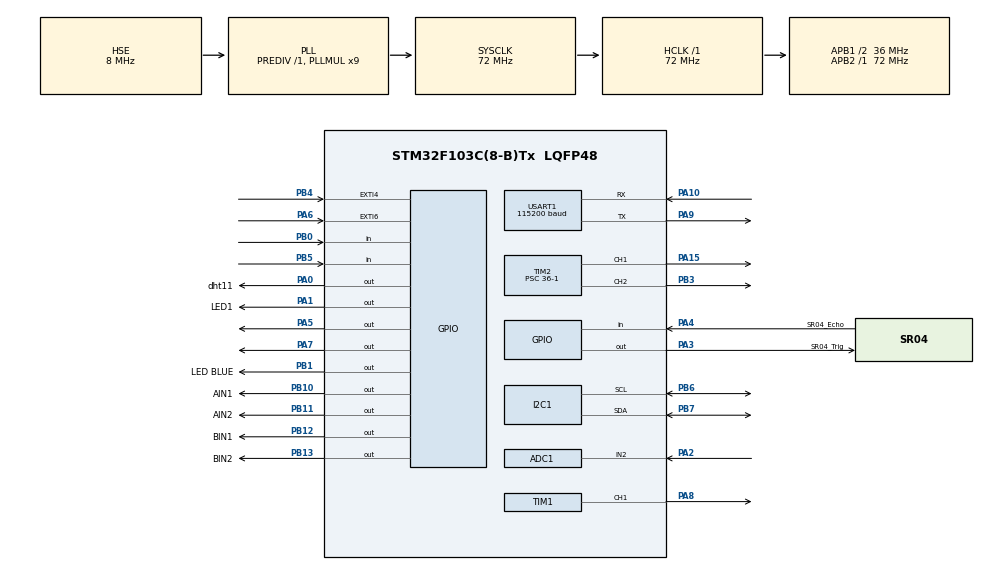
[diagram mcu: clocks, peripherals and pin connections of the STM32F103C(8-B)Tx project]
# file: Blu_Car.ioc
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ADC1.Channel-0\#ChannelRegularConversion=ADC_CHANNEL_2
ADC1.NbrOfConversionFlag=1
ADC1.Rank-0\#ChannelRegularConversion=1
ADC1.SamplingTime-0\#ChannelRegularConversion=ADC_SAMPLETIME_1CYCLE_5
ADC1.master=1
Dma.Request0=USART1_RX
Dma.USART1_RX.0.Direction=DMA_PERIPH_TO_MEMORY
Dma.USART1_RX.0.Instance=DMA1_Channel5
Dma.USART1_RX.0.MemDataAlignment=DMA_MDATAALIGN_BYTE
Dma.USART1_RX.0.MemInc=DMA_MINC_ENABLE
Dma.USART1_RX.0.Mode=DMA_NORMAL
Dma.USART1_RX.0.PeriphDataAlignment=DMA_PDATAALIGN_BYTE
Dma.USART1_RX.0.PeriphInc=DMA_PINC_DISABLE
Dma.USART1_RX.0.Priority=DMA_PRIORITY_LOW
I2C1.I2C_Mode=I2C_Fast
Mcu.Family=STM32F1
Mcu.Name=STM32F103C(8-B)Tx
Mcu.Package=LQFP48
NVIC.DMA1_Channel5_IRQn=true\:0\:0\:false\:false\:true\:false\:true
NVIC.EXTI4_IRQn=true\:0\:0\:false\:false\:true\:true\:true
NVIC.EXTI9_5_IRQn=true\:0\:0\:false\:false\:true\:true\:true
NVIC.PriorityGroup=NVIC_PRIORITYGROUP_4
NVIC.TIM4_IRQn=true\:0\:0\:false\:false\:true\:true\:true
NVIC.USART1_IRQn=true\:0\:0\:false\:false\:true\:true\:true
PA0-WKUP.GPIO_Label=dht11
PA0-WKUP.Signal=GPIO_Output
PA1.GPIO_Label=LED1
PA1.Signal=GPIO_Output
PA10.Mode=Asynchronous
PA10.Signal=USART1_RX
PA13.Mode=Serial_Wire
PA13.Signal=SYS_JTMS-SWDIO
PA14.Mode=Serial_Wire
PA14.Signal=SYS_JTCK-SWCLK
PA15.Signal=S_TIM2_CH1_ETR
PA2.Signal=ADCx_IN2
PA3.GPIO_Label=SR04_Trig
PA3.Signal=GPIO_Output
PA4.GPIO_Label=SR04_Echo
PA4.Signal=GPIO_Input
PA5.Signal=GPIO_Output
PA6.GPIO_ModeDefaultEXTI=GPIO_MODE_IT_RISING_FALLING
PA6.GPIO_PuPd=GPIO_PULLUP
PA6.Signal=GPXTI6
PA7.Signal=GPIO_Output
PA8.Signal=S_TIM1_CH1
PA9.Mode=Asynchronous
PA9.Signal=USART1_TX
PB0.GPIO_PuPd=GPIO_PULLDOWN
PB0.Signal=GPIO_Input
PB1.GPIO_Label=LED BLUE
PB1.Signal=GPIO_Output
PB10.GPIO_Label=AIN1
PB10.Signal=GPIO_Output
PB11.GPIO_Label=AIN2
PB11.Signal=GPIO_Output
PB12.GPIO_Label=BIN1
PB12.Signal=GPIO_Output
PB13.GPIO_Label=BIN2
PB13.Signal=GPIO_Output
PB3.Signal=S_TIM2_CH2
PB4.GPIO_ModeDefaultEXTI=GPIO_MODE_IT_RISING_FALLING
PB4.GPIO_PuPd=GPIO_PULLUP
PB4.Signal=GPXTI4
PB5.Signal=GPIO_Input
PB6.Mode=I2C
PB6.Signal=I2C1_SCL
PB7.Mode=I2C
PB7.Signal=I2C1_SDA
PD0-OSC_IN.Mode=HSE-External-Oscillator
PD0-OSC_IN.Signal=RCC_OSC_IN
PD1-OSC_OUT.Mode=HSE-External-Oscillator
PD1-OSC_OUT.Signal=RCC_OSC_OUT
ProjectManager.HeapSize=0x200
ProjectManager.StackSize=0x400
ProjectManager.TargetToolchain=MDK-ARM V5.27
RCC.ADCPresc=RCC_ADCPCLK2_DIV6
RCC.AHBFreq_Value=72000000
RCC.APB1CLKDivider=RCC_HCLK_DIV2
RCC.APB1Freq_Value=36000000
RCC.APB1TimFreq_Value=72000000
RCC.APB2Freq_Value=72000000
RCC.APB2TimFreq_Value=72000000
RCC.HCLKFreq_Value=72000000
RCC.PLLMUL=RCC_PLL_MUL9
RCC.PLLSourceVirtual=RCC_PLLSOURCE_HSE
RCC.SYSCLKFreq_VALUE=72000000
RCC.SYSCLKSource=RCC_SYSCLKSOURCE_PLLCLK
RCC.USBFreq_Value=72000000
SH.ADCx_IN2.0=ADC1_IN2,IN2
SH.S_TIM1_CH1.0=TIM1_CH1,PWM Generation1 CH1
SH.S_TIM2_CH1_ETR.0=TIM2_CH1,PWM Generation1 CH1
SH.S_TIM2_CH2.0=TIM2_CH2,PWM Generation2 CH2
TIM1.Channel-PWM\ Generation1\ CH1=TIM_CHANNEL_1
TIM1.Period=20000-1
TIM1.Prescaler=72-1
TIM2.Channel-PWM\ Generation1\ CH1=TIM_CHANNEL_1
TIM2.Channel-PWM\ Generation2\ CH2=TIM_CHANNEL_2
TIM2.Period=100-1
TIM2.Prescaler=36-1
TIM3.AutoReloadPreload=TIM_AUTORELOAD_PRELOAD_ENABLE
TIM3.Prescaler=72-1
TIM4.Period=100-1
TIM4.Prescaler=7200-1
USART1.BaudRate=115200
USART1.VirtualMode=VM_ASYNC
VP_TIM1_VS_ClockSourceINT.Mode=Internal
VP_TIM2_VS_ClockSourceINT.Mode=Internal
VP_TIM3_VS_ClockSourceINT.Mode=Internal
VP_TIM4_VS_ClockSourceINT.Mode=Internal
board=custom

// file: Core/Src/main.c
/* USER CODE BEGIN Header */
/**
  ******************************************************************************
  * @file           : main.c
  * @brief          : Main program body
  ******************************************************************************
  * @attention
  *
  * <h2><center>&copy; Copyright (c) 2025 STMicroelectronics.
  * All rights reserved.</center></h2>
  *
  * This software component is licensed by ST under BSD 3-Clause license,
  * the "License"; You may not use this file except in compliance with the
  * License. You may obtain a copy of the License at:
  *                        opensource.org/licenses/BSD-3-Clause
  *
  ******************************************************************************
  */
/* USER CODE END Header */
#include "main.h"
#include "adc.h"
#include "dma.h"
#include "i2c.h"
#include "tim.h"
#include "usart.h"
#include "gpio.h"

/* USER CODE BEGIN Includes */
#include <string.h>
#include "oled.h"
#include "font.h"
#include <stdio.h>
#include <stdlib.h>
#include "dht11.h"
//#include "max7219.h"
#include "key.h"
#include "MPU6050.h"
#include "Blucar.h"
#include "PID.h"
#include "HCSR04.h"
/* USER CODE END Includes */

/* USER CODE BEGIN PD */

#define RX_MAX_LEN 1024       // 定义足够大的接收缓冲区
#define RX_BUFFER_SIZE 512
#define RX_BLU_SIZE 256  // 定义缓冲区大小
#define free_state 0
#define singlepress 1
#define doublepress 2
#define longpress 3
#define WEATHER_KEY "SkauKTjXsbUijiTkw"
#define WEATHER_CITY "guangzhou"
// OneNET 配置信息
#define ONENET_PID      "NW4ydVqKGU"       // 产品 ID
#define ONENET_DEVICE   "pro1"             // 设备名称
// 【注意】这里必须填计算出来的 Token (res=products/PID/devices/pro1)
#define ONENET_TOKEN "version=2018-10-31&res=products%2FNW4ydVqKGU%2Fdevices%2Fpro1&et=2541412770&method=md5&sign=2vCMFmP%2FtvBfhgw8YwXQDg%3D%3D"

// OneNET 物模型上报 Topic (固定格式)
#define TOPIC_POST      "$sys/" ONENET_PID "/" ONENET_DEVICE "/thing/property/post"
/* USER CODE END PD */

/* USER CODE BEGIN PV */
PID_TypeDef Motor_PID_L;
PID_TypeDef Motor_PID_R;

uint16_t pid;
 char temp_str[10] = {0};
char weather_str[20] = {0};
char Car_dir;
//volatile uint8_t Car_Mode=1;
volatile uint8_t Blu_rx_buffer[RX_BUFFER_SIZE]; // 接收缓冲区
volatile uint8_t Blu_rx_len = 0; // 接收到的数据长度
volatile uint8_t Blu_rx_ready = 0; // 标志位：1表示收到新指令
volatile uint8_t RxBuffer[RX_MAX_LEN];  // DMA 原始接收桶
volatile uint16_t RxLen = 0;            // 实际接收长度
volatile uint8_t RecvEndFlag = 0;       // 接收完成标志
volatile static uint32_t stopcartime=0;
/*
// === 惯性控制变量 ===
volatile int16_t Target_PWM_L = 0;  // 左轮目标速度
volatile int16_t Target_PWM_R = 0;  // 右轮目标速度
volatile int16_t Current_PWM_L = 0; // 左轮实际速度 (逐渐变化)
volatile int16_t Current_PWM_R = 0; // 右轮实际速度 (逐渐变化)
volatile uint8_t Speed_Update_Flag = 0; // 定时器触发标志
*/
volatile uint8_t  Car_Mode = 1;          // 内部记录模式
volatile uint8_t  Speed_Update_Flag = 0; // 内部记录时间标志
char http_buffer[512]; // 存放 HTTP 请求报文
char len_cmd[128];      // 存放长度指令
char process_buff[RX_BUFFER_SIZE]; // 【新增】用于解析的备份缓冲区
char rxbuff[RX_BUFFER_SIZE];
char Txbuff[35];
char message[256];
char dht11message[256];
char adc[10];
char onenetsend[512];
uint8_t oledflag=0;
uint8_t txflag=0;
volatile uint8_t rxflag=0;
uint8_t sendflag=0;
uint8_t weathergetflag=0;
uint8_t lastweaflag=0;
uint8_t btrysendflag=0;
uint8_t stopcarflag=0;
uint8_t SR04_send_flag=0;
uint8_t speed_countflag=0;
uint8_t Car_Trackflag=0;
volatile uint8_t rx_index = 0;
volatile uint8_t new_data_available = 0;
char oled[50];
uint8_t temperature = 0;
uint8_t humidity = 0;
uint16_t Car_speed=0;
uint8_t doubleflag;
uint8_t singleflag;
uint8_t longflag;
uint8_t keyscanflag;
uint8_t wificheckflag;
uint8_t sr04_Readflag=0;
uint8_t Actual_Speed=35;
long pwmvalue;
float PID_L=0;
float PID_R=0;
// 全局变量记录脉冲
volatile long pulse_count_L = 0;
volatile long pulse_count_R = 0;
float speed_L = 0.0f;         // 当前速度 (cm/s)
float speed_R = 0.0f;
/* 发送电量变量 */
uint32_t Last_Send_Time = 0;
char send_buf[30];

uint32_t Last_Cmd_Time = 0; // 全局变量，记录上次收到指令的时间
char line2[] = "Host: api.seniverse.com\r\n";
char line3[] = "Connection: close\r\n";
char line4[] = "\r\n"; // 【关键】最后的空行
//MPU6050 MM;
/* USER CODE END PV */

void SystemClock_Config(void);
/* USER CODE BEGIN PFP */
void send_at_command(const char* cmd);
void Get_Temp(void);
uint8_t MQTTRec(char * data);
void Set_Servo_Angle(TIM_HandleTypeDef *htim, uint32_t Channel, uint8_t angle);
void MQTThandle(void);
void oledshow(char *text,uint8_t x,uint8_t y);
void Get_Weather(void);
void Onenet_connect(void);
void Parse_Weather_Smart(void);
void Control_Car(uint8_t mode,uint8_t cmd,uint8_t speed);
void Car_btry(void);
void Car_Speed_Loop(void);
/* USER CODE END PFP */

int main(void)
{

  /* MCU Configuration--------------------------------------------------------*/

  /* Reset of all peripherals, Initializes the Flash interface and the Systick. */
  HAL_Init();

  /* Configure the system clock */
  SystemClock_Config();

  /* Initialize all configured peripherals */
  MX_GPIO_Init();
  MX_DMA_Init();
  MX_USART1_UART_Init();
  MX_I2C1_Init();
  MX_TIM2_Init();
  MX_TIM4_Init();
  MX_ADC1_Init();
  MX_TIM3_Init();
  MX_TIM1_Init();
  /* USER CODE BEGIN 2 */
  /*
    send_at_command("AT+RST");
	HAL_Delay (1000);
	*/

	SSD1306_Init();
	SSD1306_Clear();
	oledshow("ok",0,20);
	HAL_GPIO_WritePin(LED1_GPIO_Port, LED1_Pin, GPIO_PIN_SET);
	HAL_GPIO_WritePin(LED_BLUE_GPIO_Port,LED_BLUE_Pin,GPIO_PIN_SET);
	HAL_GPIO_WritePin(GPIOA, GPIO_PIN_5, GPIO_PIN_RESET); // servo IN1
    HAL_GPIO_WritePin(GPIOA, GPIO_PIN_7, GPIO_PIN_RESET); // servo IN2

	//onenet init

	//send_at_command("AT+CWJAP=\"Neo8\",\"2271902787\"");
	//HAL_Delay(1000);

	//send_at_command("AT+CWJAP=\"Xiaomi_D44B\",\"2271902787Ab\"");
	//HAL_Delay (4000);
//send_at_command("AT+CIPSTART=\"TCP\",\"api.seniverse.com\",80");

	DHT11_Init();
	SR04_Init();
	Motor_Init(); //电机初始化
	PID_Init(&Motor_PID_L, 1.5f, 0.0f, 0.5f, 100.0f);
	PID_Init(&Motor_PID_R, 1.5f, 0.0f, 0.5f, 100.0f);
	Track_PID_Init();
	//HAL_TIM_PWM_Start(&htim3, TIM_CHANNEL_1);
	HAL_TIM_PWM_Start(&htim1, TIM_CHANNEL_1);

	//HAL_TIM_Base_Start(&htim4);
	//HAL_UART_Receive_IT(&huart1, (uint8_t*)&rxbuff[0], 1);

	// 1. 开启 IDLE 中断
  //__HAL_UART_ENABLE_IT(&huart1, UART_IT_IDLE);
  // 2. 开启 DMA 接收 (CPU 可以去玩了，DMA 会干活)
  // HAL_UART_Receive_DMA(&huart1, (uint8_t*)Blu_rx_buffer, RX_BLU_SIZE);

	 HAL_UARTEx_ReceiveToIdle_DMA(&huart1,(uint8_t*)Blu_rx_buffer,RX_BLU_SIZE);	//手动开启串口DMA模式接收数据
  	__HAL_DMA_DISABLE_IT(&hdma_usart1_rx, DMA_IT_HT);

	HAL_TIM_Base_Start_IT(&htim4);
	//__HAL_TIM_SET_COMPARE(&htim1, TIM_CHANNEL_1,0);
	//HAL_ADC_Start(&hadc1);
	//HAL_TIM_Encoder_Start(&htim4,TIM_CHANNEL_ALL);

  /* USER CODE END 2 */

  /* Infinite loop */
  /* USER CODE BEGIN WHILE */
  while (1)
  {
	  /*陀螺仪
	  MPU6050_Get_Angle(&MM);
	  printf("pitch:%.2f\r\n",MM.pitch);
	  printf("roll:%.2f\r\n",MM.roll);
	  printf("yaw:%.2f\r\n",MM.yaw);
	  printf("%d\r\n",speed);
	  HAL_Delay(1000);
	  */
	  /* main.c 的 while(1) 循环内 */

	  if(myCar.Mode == 4)
	  {
		  if(Car_Trackflag){
				Car_Trackflag=0;
			   Car_Track_Line(&myCar); // 专门写一个循迹函数
		  }

     }

	  if(sr04_Readflag)
     {
			 sr04_Readflag = 0;
			 if(myCar.Mode != 4){
				Car_AutoRun(&myCar);
			 }
	  }

	  if(speed_countflag)
	  {
			speed_countflag=0;

			 Car_Getspd(pulse_count_L,pulse_count_R);
			 // 3. PID 计算 (现在正负号对齐了，PID 就能正常工作了)
			 PID_L = PID_Compute(&Motor_PID_L, speed_L,Car_speed);
			 PID_R = PID_Compute(&Motor_PID_R, speed_R,Car_speed);
			 Car_Wheelspd(Car_dir,&myCar,PID_L,PID_R);
			 // 4. 执行输出
			 //Car_Wheelspd(&myCar,PWM_L, PWM_R);
        sprintf(send_buf, "[Spd,%.1f,%.1f]", speed_L,speed_R);

	  }

		if(keyscanflag==1){
			keyscanflag=0;
			Keyscan();
		}

		// === 电压测量与发送 (没指令时每5秒发一次) ===
	 if(btrysendflag){

			btrysendflag=0;
			Car_Report_Status();
	 }

	 if(Speed_Update_Flag){
		 Speed_Update_Flag=0;
		 //Motor_PID_R.Target=Car_speed;
	    //pid =PID_Compute(&Motor_PID_R,35);
		 Car_Speed_Handle(&myCar);
	 }

	 if(SR04_send_flag){
		 SR04_send_flag=0;
		 HAL_UART_Transmit(&huart, (uint8_t*)send_buf, strlen(send_buf), 100);
		 sprintf(send_buf, "[Sonic,%.2f]",g_Distance);
       HAL_UART_Transmit(&huart, (uint8_t*)send_buf, strlen(send_buf), 100);

	 }

	//蓝牙接收处理
	// 检查是否有新数据
    if(Blu_rx_ready == 1)
    {
        Blu_rx_ready = 0; // 清除标志位

		  HAL_UART_Transmit(&huart1, (uint8_t*)&Blu_rx_buffer, Blu_rx_len,100);
			// 永远只找最后一个 '['，忽略前面积压的旧数据
			char *p = strrchr((char*)Blu_rx_buffer, '[');
		 // 1. 定义临时变量 (int 类型)
			int temp_speed = 0;
			int temp_mode = 0;
		 //if(strstr((char*)Blu_rx_buffer,"[Car")!=NULL)
		 //解析接收的指令
		 if (p != NULL)
		 {
				if (sscanf(p, "[Car,%c,%d]",&Car_dir,&temp_speed) == 2)
				{

					stopcartime=0;
					stopcarflag=0;
					if(myCar.Mode != 3 && myCar.Mode != 4){
						// 3. 安全赋值 (把 int 转回 uint16_t)
						Car_speed = (uint16_t)temp_speed;;

						//Car_Run(&myCar,Car_dir,Car_speed);

					}
					//printf("Car_dir:%c,speed:%d",Car_dir,Car_speed);

				}

				//获取小程序控制模式
				if (sscanf(p, "[Mode,%d]", &temp_mode) == 1)
				{
						stopcartime=0;
					   Set_Servo_Angle(&htim1, TIM_CHANNEL_1, 90);
					   myCar.Mode = (uint8_t)temp_mode;
						Car_Set_Motion(&myCar);
				}

            // 接收小程序指令，立马发送一次电量
				if (strstr(p, "[Connect]") != NULL)
				{
						Car_Report_Status();
				}

				memset(Blu_rx_buffer, 0, 255);
		}

		Blu_rx_len = 0;
		HAL_UARTEx_ReceiveToIdle_DMA(&huart1, (uint8_t*)Blu_rx_buffer, RX_BLU_SIZE); /// 接收完毕后重启串口DMA模式接收数据
		 /*
		 //舵机控制
		 if(strstr((char*)Blu_rx_buffer,"1")!=NULL){
			Set_Servo_Angle(&htim2,TIM_CHANNEL_1,0);
		}

		 int n;
		static uint32_t last_servo_time = 0; // 记录上次动舵机的时间
		 static uint8_t last_servo_angle = 255; // 初始值设为一个不可能的角度，确保第一次能执行
			if (sscanf((char*)Blu_rx_buffer, "[slider,1,%d]", &n) == 1)
         {
                // 3. 安全限幅 (防止手机发来 200 把舵机烧了)
                if(n < 0) n = 0;
                if(n > 100) n = 100;

                // 4. 映射计算
                // 输入: 0~100
                // 输出: 0~180 度
                // 公式: 角度 = (数值 / 100.0) * 180
                uint8_t servo_angle = (uint8_t)(n * 1.6);
						printf("n为:%d",n);

					if (abs(servo_angle - last_servo_angle) > 3)
					{
						 // === 新增：时间限制 ===
						 // 只有距离上次操作超过 100ms (0.1秒) 才允许再次动舵机
						 if (HAL_GetTick() - last_servo_time > 100)
						 {
							  Set_Servo_Angle(&htim2, TIM_CHANNEL_1, servo_angle);
							  last_servo_angle = servo_angle;
							  last_servo_time = HAL_GetTick(); // 更新时间戳
						 }
					}

         }

        // 处理接收到的蓝牙指令
        // 假设指令是单个字符：rx_buffer[0]
        // 如果指令是字符串（如 "GO"），可以用 strcmp 判断

        // 简单示例：取第一个字节控制
        //Control_Car(Blu_rx_buffer[0]);
		 //printf("数据:%d:",Blu_rx_buffer[0]);
        // 调试：如果你有 OLED，可以在这里打印 rx_buffer 看看收到了啥
		  */
    }

	 //看门狗,超时强制停车,防止小车失控
	 if(stopcarflag)
	 {
			stopcarflag=0;

			if(myCar.Target_PWM_L != 0 || myCar.Target_PWM_R != 0)
			{
				myCar.Target_Speed = 0; // 更新状态变量
				myCar.Current_PWM_L = 0;
				myCar.Current_PWM_R = 0;

				Car_Force_Stop(&myCar);
				//HAL_UART_Transmit(&huart1, (uint8_t*)"[Info,Stop]\r\n", 13, 100);
				//HAL_UART_Transmit(&huart1, (uint8_t*)"stop\r\n", 6, 100);
			}

	 }
	 /*//红外

	if (HAL_GPIO_ReadPin(GPIOB, GPIO_PIN_5) == GPIO_PIN_RESET)
    {
       HAL_GPIO_WritePin(LED_BLUE_GPIO_Port,LED_BLUE_Pin,GPIO_PIN_RESET);
    }
    else
    {
        HAL_GPIO_WritePin(LED_BLUE_GPIO_Port,LED_BLUE_Pin,GPIO_PIN_SET);
    }

	 */

	if(weathergetflag==1){

			lastweaflag=weathergetflag;
			weathergetflag=0;

	}

	if(sendflag){

		Onenet_connect();
		sendflag=0;
	}

	  /* //红外adc
	uint16_t adc_value;
    HAL_ADC_PollForConversion(&hadc1, 50);
    if ((HAL_ADC_GetState(&hadc1) & HAL_ADC_STATE_REG_EOC) == HAL_ADC_STATE_REG_EOC)
    {
        adc_value = HAL_ADC_GetValue(&hadc1);
        sprintf(adc,"V: %d", adc_value);
		oledshow(adc);
    }
	if(adc_value<1000){
		Set_Servo_Angle(&htim2, TIM_CHANNEL_1, 45);  // 45掳
	}else Set_Servo_Angle(&htim2, TIM_CHANNEL_1, 90);  // 45掳
	HAL_Delay(500);
	 */
    /* USER CODE END WHILE */

  }
}

void SystemClock_Config(void)
{
  RCC_OscInitTypeDef RCC_OscInitStruct = {0};
  RCC_ClkInitTypeDef RCC_ClkInitStruct = {0};
  RCC_PeriphCLKInitTypeDef PeriphClkInit = {0};

  /** Initializes the RCC Oscillators according to the specified parameters
  * in the RCC_OscInitTypeDef structure.
  */
  RCC_OscInitStruct.OscillatorType = RCC_OSCILLATORTYPE_HSE;
  RCC_OscInitStruct.HSEState = RCC_HSE_ON;
  RCC_OscInitStruct.HSEPredivValue = RCC_HSE_PREDIV_DIV1;
  RCC_OscInitStruct.HSIState = RCC_HSI_ON;
  RCC_OscInitStruct.PLL.PLLState = RCC_PLL_ON;
  RCC_OscInitStruct.PLL.PLLSource = RCC_PLLSOURCE_HSE;
  RCC_OscInitStruct.PLL.PLLMUL = RCC_PLL_MUL9;
  if (HAL_RCC_OscConfig(&RCC_OscInitStruct) != HAL_OK)
  {
    Error_Handler();
  }
  /** Initializes the CPU, AHB and APB buses clocks
  */
  RCC_ClkInitStruct.ClockType = RCC_CLOCKTYPE_HCLK|RCC_CLOCKTYPE_SYSCLK
                              |RCC_CLOCKTYPE_PCLK1|RCC_CLOCKTYPE_PCLK2;
  RCC_ClkInitStruct.SYSCLKSource = RCC_SYSCLKSOURCE_PLLCLK;
  RCC_ClkInitStruct.AHBCLKDivider = RCC_SYSCLK_DIV1;
  RCC_ClkInitStruct.APB1CLKDivider = RCC_HCLK_DIV2;
  RCC_ClkInitStruct.APB2CLKDivider = RCC_HCLK_DIV1;

  if (HAL_RCC_ClockConfig(&RCC_ClkInitStruct, FLASH_LATENCY_2) != HAL_OK)
  {
    Error_Handler();
  }
  PeriphClkInit.PeriphClockSelection = RCC_PERIPHCLK_ADC;
  PeriphClkInit.AdcClockSelection = RCC_ADCPCLK2_DIV6;
  if (HAL_RCCEx_PeriphCLKConfig(&PeriphClkInit) != HAL_OK)
  {
    Error_Handler();
  }
}

/* USER CODE BEGIN 4 */

int fputc(int ch,FILE *f)
{
	HAL_UART_Transmit(&huart1, (uint8_t*)&ch, 1, 100);
	return ch;
}

void Set_Servo_Angle(TIM_HandleTypeDef *htim, uint32_t Channel, uint8_t angle)
{
    uint16_t pulse_width = 500 + (angle/ 180.0) * 2000;
    __HAL_TIM_SET_COMPARE(htim, Channel, pulse_width);
    HAL_Delay(15);
}

uint8_t MQTTRec(char * data)
{
	 if (strstr(rxbuff, "+MQTTSUBRECV:") != NULL && strstr(rxbuff, data) != NULL)
	 {
		return 1;
	 }else return 0;
}

void oledshow(char *text,uint8_t x,uint8_t y)
{

	SSD1306_GotoXY(x, y);
	SSD1306_Puts(text, &Font_11x18, 1);
	SSD1306_UpdateScreen();
}

void Onenet_connect(void)
{
		if(lastweaflag==1){
			HAL_UART_Transmit(&huart1, (uint8_t*)"AT+CIPCLOSE\r\n", 13, 100);
			 HAL_Delay(500);
			snprintf(onenetsend,sizeof(onenetsend),"AT+MQTTUSERCFG=0,1,\"%s\",\"%s\",\"%s\",0,0,\"\"\r\n",ONENET_DEVICE,ONENET_PID,ONENET_TOKEN);
			send_at_command(onenetsend);
			 //send_at_command("AT+MQTTUSERCFG=0,1,\"%s\",\"%s\",\"%s\",0,0,\"\"\r\n",ONENET_DEVICE,ONENET_PID,ONENET_TOKEN);
				 HAL_Delay(500);
				send_at_command("AT+MQTTCONN=0,\"mqtts.heclouds.com\",1883,1\r\n");
				 // 3. 连接 OneNET MQTT 服务器

				 HAL_Delay(1000); // 连接需要时间，必须延时！
			snprintf(onenetsend,sizeof(onenetsend),"AT+MQTTSUB=0,\"$sys/%s/%s/thing/property/post/reply\",0\r\n",ONENET_PID,ONENET_DEVICE);
			send_at_command(onenetsend);
					//send_at_command("AT+MQTTSUB=0,\"$sys/NW4ydVqKGU/pro1/thing/property/post/reply\",0\r\n");

				 // 4. 构造物模型 JSON 数据
				 // 假设 OneNET 平台上有 identifier 为 "temperature" 和 "humidity" 的属性

				  HAL_Delay(1000);
			snprintf(onenetsend,sizeof(onenetsend),"AT+MQTTSUB=0,\"$sys/%s/%s/thing/property/set\",0\r\n",ONENET_PID,ONENET_DEVICE);
			send_at_command(onenetsend);
				//send_at_command("AT+MQTTSUB=0,\"$sys/NW4ydVqKGU/pro1/thing/property/set\",0\r\n");
			HAL_Delay(1000);
			lastweaflag=0;
		}

		Get_Temp();
		snprintf(onenetsend,sizeof(onenetsend),"AT+MQTTPUB=0,\"%s\",\"{\\\"id\\\":\\\"123\\\"\\,\\\"params\\\":{\\\"hum\\\":{\\\"value\\\":%d}\\,\\\"temp\\\":{\\\"value\\\":%d}}}\",0,0\r\n",TOPIC_POST,humidity,temperature);
   //snprintf(onenetsend,sizeof(onenetsend),"AT+MQTTPUB=0,\"%s\",\"{\\\"id\\\":\\\"123\\\"\\,\\\"params\\\":{\\\"hum\\\":{\\\"value\\\":%d}\\,\\\"temp\\\":{\\\"value\\\":%d}\\,\\\"weather\\\":{\\\"value\\\":\\\"%s\\\"}}}\",0,0\r\n",TOPIC_POST,humidity,temperature,weather_str);
				send_at_command(onenetsend);
		if(weathergetflag){
			 snprintf(onenetsend,sizeof(onenetsend),"AT+MQTTPUB=0,\"$sys/NW4ydVqKGU/pro1/thing/property/post\",\"{\\\"id\\\":\\\"123\\\"\\,\\\"params\\\":{\\\"weather\\\":{\\\"value\\\":\\\"%s\\\"}}}\",0,0\r\n",weather_str);
			send_at_command(onenetsend);
		}
}

void HAL_UARTEx_RxEventCallback(UART_HandleTypeDef *huart, uint16_t Size)
{
   if (huart->Instance == USART1)
   {
		// 1. 保存接收到的数据长度 (关键修正！)
      Blu_rx_len = Size;

   	Blu_rx_ready =1;
   	__HAL_DMA_DISABLE_IT(&hdma_usart1_rx, DMA_IT_HT);		   		// 手动关闭DMA_IT_HT中断
   							   	// 清除接收缓存
   }
}

/*
// --- 核心优化：处理空闲中断 (IDLE) ---
void USER_UART_IDLECallback(UART_HandleTypeDef *huart)
{
    if(huart->Instance == USART1)
    {
        // 检查是否是空闲中断 (数据发完了，总线停了)
        if(__HAL_UART_GET_FLAG(huart, UART_FLAG_IDLE) != RESET)
        {
            // 1. 清除 IDLE 标志
            __HAL_UART_CLEAR_IDLEFLAG(huart);

            // 2. 停止 DMA 接收 (为了计算收到了多少字节)
            HAL_UART_DMAStop(huart);

            // 3. 计算数据长度
            // 总长度 - DMA剩余待接收长度 = 实际接收长度
            Blu_rx_len = RX_BLU_SIZE - __HAL_DMA_GET_COUNTER(huart->hdmarx);

            // 4. 只有收到数据才处理
            if(Blu_rx_len > 0)
            {
                Blu_rx_ready = 1; // 告诉主循环：有一整包数据到了！

                // 为了配合 strstr，我们在数据末尾补一个 '\0'
                // 注意不要越界
                if(Blu_rx_len < RX_BLU_SIZE) Blu_rx_buffer[Blu_rx_len] = 0;
            }

            // 5. 重启 DMA，准备接下一包
            HAL_UART_Receive_DMA(huart, (uint8_t*)Blu_rx_buffer, RX_BLU_SIZE);
        }
    }

}
*/

void HAL_TIM_PeriodElapsedCallback(TIM_HandleTypeDef *htim)
{

	if (htim->Instance == TIM4)
	{
		static uint32_t keycount = 0;
		static uint32_t weathersendcount = 0;
		static uint32_t dht11sendcount = 0;
		static uint32_t btrysendtime = 0;
		static uint32_t sr04_Readtime=0;
		static uint32_t sr04_sendtime=0;
		static uint32_t speed_counttime=0;

		if(myCar.Mode == 4){
			Car_Trackflag=1;
		}
		Speed_Update_Flag=1;

		if(++speed_counttime >= 5)
		{
			speed_countflag=1;
		   speed_counttime = 0;

		}

		if(++keycount >= 1)
		{  // 每10ms扫描一次按键
		  keycount = 0;
		  keyscanflag=1;
		}

		if(myCar.Target_Speed==0){
			if(++btrysendtime>500){
				btrysendtime=0;
				btrysendflag=1;
			}
		}else btrysendtime=0;

		if(myCar.Mode!=3 &&myCar.Mode!=4){

				if(++stopcartime > 30)
				{
						stopcartime=31;
						stopcarflag=1;
				}
		}else
		{
			 stopcartime = 0; // 如果是模式3或4，一直喂狗，保持活跃
		}

		if(++sr04_Readtime>=10){
			sr04_Readflag=1;
			sr04_Readtime=0;
		}

		if(++sr04_sendtime>=100){
			sr04_sendtime=0;
			SR04_send_flag=1;

		}
		/*
		// 5秒定时
		if(++weathersendcount >= 6000)
		{
		  weathersendcount = 0;
		  weathergetflag = 1;  // 触发数据发送
		}
		if(weathergetflag){
			if(++dht11sendcount >= 500){
				dht11sendcount=0;
				sendflag=1;
			}
		}
		*/
	}
}

void HAL_GPIO_EXTI_Callback(uint16_t GPIO_Pin)
{
    if(GPIO_Pin == GPIO_PIN_6) // 假设你接的是 PA0
    {
        pulse_count_L++;
    }
	 if(GPIO_Pin == GPIO_PIN_4) // 假设你接的是 PA0
    {
        pulse_count_R++;
    }
}

void send_at_command(const char* cmd)
{
    HAL_UART_Transmit(&huart1, (uint8_t*)cmd, strlen(cmd), 100);
    HAL_UART_Transmit(&huart1, (uint8_t*)"\r\n", 2, 100);
}
void Get_Temp(void)
{
	DHT11_Data_TypeDef DHT11_Data;
	if(DHT11_Read_TempAndHumidity(&DHT11_Data)==SUCCESS)
	{
		temperature = DHT11_Data.temperature;
		humidity = DHT11_Data.humidity;
	}

}
/* USER CODE END 4 */

void Error_Handler(void)
{
  __disable_irq();
  while (1)
  {
  }
}

/************************ (C) COPYRIGHT STMicroelectronics *****END OF FILE****/
